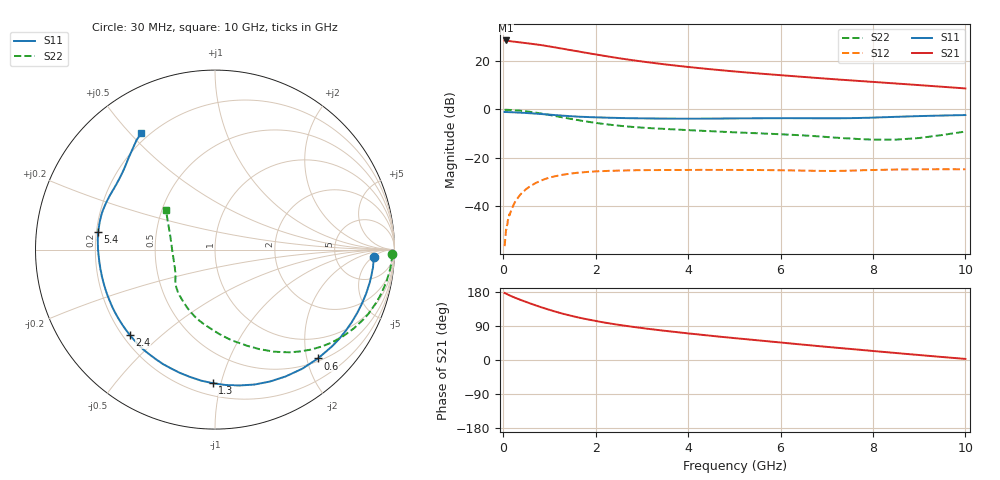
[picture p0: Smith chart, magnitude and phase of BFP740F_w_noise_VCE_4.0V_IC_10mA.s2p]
! Infineon Technologies  Discrete & RF Semiconductors
! BFP740F
! VCE =  4.0 V,  IC =  10 mA
! Common Emitter S-Parameters:  Oct 2012
# GHz  S  MA  R  50
!  f  S11  S21  S12  S22
! GHz  MAG  ANG  MAG  ANG  MAG  ANG  MAG  ANG
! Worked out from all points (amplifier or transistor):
!   99 points, 30 MHz to 10 GHz, reference 50 ohm
!   highest |S21| = 28.5 dB at 50 MHz (marker M1)
!   |S21| within 3 dB of that: start of sweep to 1.16 GHz
!   unconditionally stable (mu >= 1): 6.645 GHz to end of sweep
!   at 350 MHz: K = 0.11, MSG = 31.7 dB, |S12| = -35.7 dB
!   at 3.5 GHz: K = 0.49, MSG = 21.8 dB, |S12| = -25.0 dB
!   at 10 GHz: K = 1.27, MAG = 13.6 dB, |S12| = -24.7 dB
!   lowest NFmin = 0.44 dB at 450 MHz
!   S11 on the Smith chart (normalised r, x): 30 MHz: 15, -5; 600 MHz: 0.55, -2.21; 1.3 GHz: 0.28, -0.94; 2.4 GHz: 0.23, -0.40; 5.4 GHz: 0.21, +0.07; 10 GHz: 0.17, +0.54
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0.03  0.8875 -2.5  26.51 176.8  0.0015 63.6  0.9853 -1.5
0.05  0.8858 -4.1  26.7 175.8  0.0024 84.5  0.9857 -2.5
0.15  0.8809 -12.3  25.86 169.8  0.0072 77.3  0.9777 -8.0
0.25  0.8721 -20.3  25.12 164.6  0.0121 75.0  0.9637 -13.0
0.4  0.8574 -31.9  24.16 157.5  0.0188 71.0  0.9361 -20.3
0.6  0.8348 -46.6  22.83 148.6  0.0266 63.3  0.8892 -29.6
0.8  0.8091 -60.8  21.57 140.1  0.0334 56.3  0.8329 -38.3
0.9  0.7962 -67.4  20.84 136.2  0.0365 52.9  0.8027 -42.3
1.1  0.7695 -79.7  19.36 128.7  0.0413 46.8  0.7411 -49.9
1.3  0.7442 -91.0  17.93 121.8  0.0451 41.4  0.6827 -56.8
1.5  0.7228 -101.2  16.6 115.8  0.048 37.0  0.6306 -62.9
1.7  0.706 -110.2  15.36 110.3  0.0501 33.3  0.5845 -68.7
2.1  0.6851 -125.8  13.24 100.7  0.0532 26.6  0.5137 -79.6
2.4  0.6721 -135.0  11.89 94.7  0.0542 22.9  0.474 -86.5
2.8  0.6601 -145.5  10.45 87.6  0.0552 19.1  0.4364 -94.1
3.4  0.6503 -158.2  8.796 78.4  0.0561 14.8  0.4011 -103.6
4  0.6468 -168.6  7.569 70.2  0.0564 11.6  0.375 -110.8
5.1  0.6554 175.4  6.001 56.6  0.0563 7.7  0.3345 -123.2
5.4  0.658 171.4  5.679 53.2  0.0561 6.9  0.3255 -126.5
6.7  0.6591 154.4  4.548 38.1  0.0542 4.8  0.2831 -141.2
8.5  0.7058 132.6  3.444 18.4  0.0575 5.8  0.2385 -179.3
10  0.7678 122.4  2.725 2.9  0.0582 3.4  0.3502 141.3
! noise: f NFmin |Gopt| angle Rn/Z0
0.45  0.44  0.22  5  0.24
0.9  0.49  0.22  12  0.16
1.5  0.57  0.22  23  0.1
1.9  0.61  0.21  31  0.07
2.4  0.66  0.21  42  0.06
3.5  0.78  0.18  66  0.09
5.5  0.98  0.1  127  0.1
10  1.39  0.38  -118  0.09
